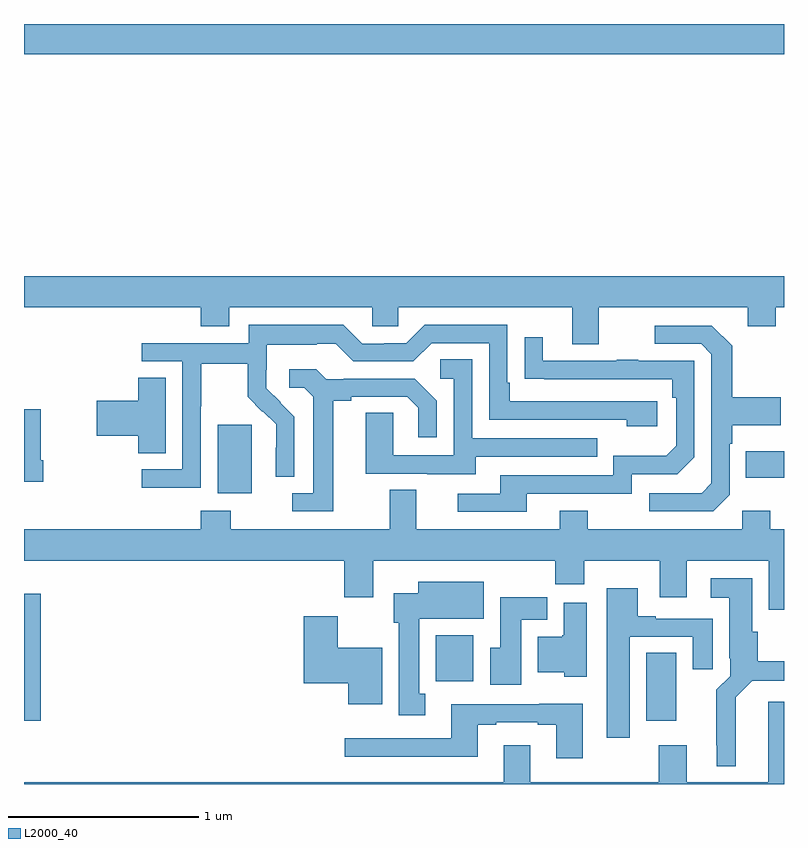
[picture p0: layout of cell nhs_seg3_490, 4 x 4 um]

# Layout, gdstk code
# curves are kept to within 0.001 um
import gdstk
lib = gdstk.Library(unit=1e-6, precision=1e-09)
def R(c, l, rs):  # rectangles x0, y0, x1, y1
    for r in rs: c.add(gdstk.rectangle(r[:2], r[2:], *l))
def P(c, l, *ps):  # polygons
    for p in ps: c.add(gdstk.Polygon(p, *l))
L2000_40 = (2000, 40)

nhs_seg3_490 = lib.new_cell('nhs_seg3_490')
R(nhs_seg3_490, L2000_40, [(135,706.734,135.088,707.401), (138.275,706.734,138.433,707.09), (137.168,706.94,137.365,707.182), (136.019,707.93,136.198,708.291), (138.799,708.011,139,708.151), (135,710.24,139,710.4)])
P(nhs_seg3_490, L2000_40, [(138.025,708.908),(138.809,708.908),(138.809,708.809),(138.957,708.809),(138.957,708.908),(139,708.908),(139,709.072),(135,709.072),(135,708.908),(135.929,708.908),(135.929,708.809),(136.081,708.809),(136.081,708.908),(136.833,708.908),(136.833,708.81),(136.971,708.81),(136.971,708.908),(137.885,708.908),(137.885,708.714),(138.025,708.714)],
  [(135.93,708.388),(135.933,708.388),(135.933,708.612),(136.177,708.612),(136.177,708.437),(136.254,708.36),(136.257,708.363),(136.328,708.293),(136.328,708.17),(136.326,708.17),(136.326,708.016),(136.422,708.016),(136.422,708.334),(136.276,708.482),(136.276,708.579),(136.278,708.579),(136.278,708.713),(136.541,708.713),(136.541,708.717),(136.641,708.717),(136.734,708.624),(137.049,708.624),(137.145,708.72),(137.448,708.72),(137.448,708.318),(138.173,708.318),(138.173,708.284),(138.334,708.284),(138.334,708.414),(137.557,708.414),(137.557,708.511),(137.544,708.511),(137.544,708.816),(137.109,708.816),(137.013,708.72),(136.895,708.72),(136.895,708.717),(136.779,708.717),(136.679,708.817),(136.182,708.817),(136.182,708.72),(135.621,708.72),(135.621,708.624),(135.834,708.624),(135.834,708.057),(135.621,708.057),(135.621,707.959),(135.93,707.959)],
  [(138.714,707.922),(138.714,708.191),(138.727,708.191),(138.727,708.287),(138.983,708.287),(138.983,708.435),(138.727,708.435),(138.727,708.707),(138.621,708.813),(138.321,708.813),(138.321,708.717),(138.564,708.717),(138.618,708.663),(138.618,707.982),(138.567,707.931),(138.291,707.931),(138.291,707.835),(138.627,707.835)],
  [(137.647,707.928),(138.198,707.928),(138.198,708.03),(138.438,708.03),(138.528,708.12),(138.528,708.627),(138.233,708.627),(138.233,708.632),(138.121,708.632),(138.121,708.627),(137.731,708.627),(137.731,708.751),(137.635,708.751),(137.635,708.532),(138.412,708.531),(138.412,708.434),(138.432,708.434),(138.432,708.18),(138.379,708.127),(138.102,708.127),(138.102,708.024),(137.507,708.024),(137.507,707.928),(137.283,707.928),(137.283,707.832),(137.647,707.832)],
  [(137.377,708.123),(138.017,708.123),(138.017,708.219),(137.358,708.219),(137.358,708.635),(137.19,708.635),(137.19,708.534),(137.262,708.534),(137.262,708.129),(136.944,708.129),(136.944,708.353),(136.799,708.353),(136.799,708.033),(137.123,708.033),(137.123,708.029),(137.377,708.029)],
  [(136.627,708.416),(136.723,708.416),(136.723,708.438),(137.018,708.438),(137.075,708.381),(137.075,708.225),(137.172,708.225),(137.172,708.418),(137.056,708.534),(136.684,708.534),(136.684,708.531),(136.59,708.531),(136.538,708.583),(136.395,708.583),(136.395,708.486),(136.476,708.486),(136.523,708.439),(136.523,707.931),(136.413,707.931),(136.413,707.835),(136.627,707.835)],
  [(135.745,708.539),(135.602,708.539),(135.602,708.416),(135.384,708.416),(135.384,708.233),(135.602,708.233),(135.602,708.142),(135.745,708.142)],
  [(135.101,708.103),(135.088,708.103),(135.088,708.372),(135,708.372),(135,707.991),(135.101,707.991)],
  [(139,707.74),(138.927,707.74),(138.927,707.839),(138.78,707.839),(138.78,707.74),(137.967,707.74),(137.967,707.839),(137.819,707.839),(137.819,707.74),(137.065,707.74),(137.065,707.948),(136.925,707.948),(136.925,707.74),(136.089,707.74),(136.089,707.839),(135.929,707.839),(135.929,707.74),(135,707.74),(135,707.576),(136.685,707.576),(136.685,707.382),(136.837,707.382),(136.837,707.576),(137.797,707.576),(137.797,707.452),(137.949,707.452),(137.949,707.576),(138.347,707.576),(138.347,707.382),(138.487,707.382),(138.487,707.576),(138.921,707.576),(138.921,707.316),(139,707.316)],
  [(138.745,706.856),(138.832,706.944),(139,706.944),(139,707.045),(138.863,707.045),(138.863,707.202),(138.832,707.202),(138.832,707.482),(138.615,707.482),(138.615,707.381),(138.713,707.381),(138.713,707.062),(138.717,707.062),(138.717,706.968),(138.644,706.895),(138.644,706.603),(138.647,706.603),(138.647,706.493),(138.745,706.493)],
  [(137.113,706.874),(137.08,706.874),(137.08,707.27),(137.419,707.27),(137.419,707.464),(137.075,707.464),(137.075,707.404),(136.946,707.404),(136.946,707.25),(136.973,707.25),(136.973,706.761),(137.113,706.761)],
  [(138.187,707.175),(138.521,707.175),(138.521,707.004),(138.625,707.004),(138.625,707.271),(138.325,707.271),(138.325,707.284),(138.229,707.284),(138.229,707.431),(138.068,707.431),(138.068,706.644),(138.187,706.644)],
  [(137.617,707.264),(137.755,707.264),(137.755,707.382),(137.507,707.382),(137.507,707.116),(137.453,707.116),(137.453,706.923),(137.617,706.923)],
  [(137.962,707.353),(137.84,707.353),(137.84,707.182),(137.834,707.182),(137.834,707.176),(137.705,707.176),(137.705,706.988),(137.844,706.988),(137.844,706.964),(137.962,706.964)],
  [(136.885,707.116),(136.65,707.116),(136.65,707.284),(136.472,707.284),(136.472,706.931),(136.706,706.931),(136.706,706.82),(136.885,706.82)],
  [(139,706.834),(138.917,706.834),(138.917,706.408),(138.487,706.408),(138.487,706.603),(138.34,706.603),(138.34,706.408),(137.665,706.408),(137.665,706.603),(137.525,706.603),(137.525,706.408),(135,706.408),(135,706.4),(139,706.4)],
  [(137.941,706.822),(137.713,706.822),(137.713,706.821),(137.249,706.821),(137.249,706.641),(136.689,706.641),(136.689,706.544),(137.389,706.544),(137.389,706.713),(137.485,706.713),(137.485,706.725),(137.705,706.725),(137.705,706.713),(137.801,706.713),(137.801,706.536),(137.941,706.536)])

lib.write_gds('nhs_seg3_490.gds')
